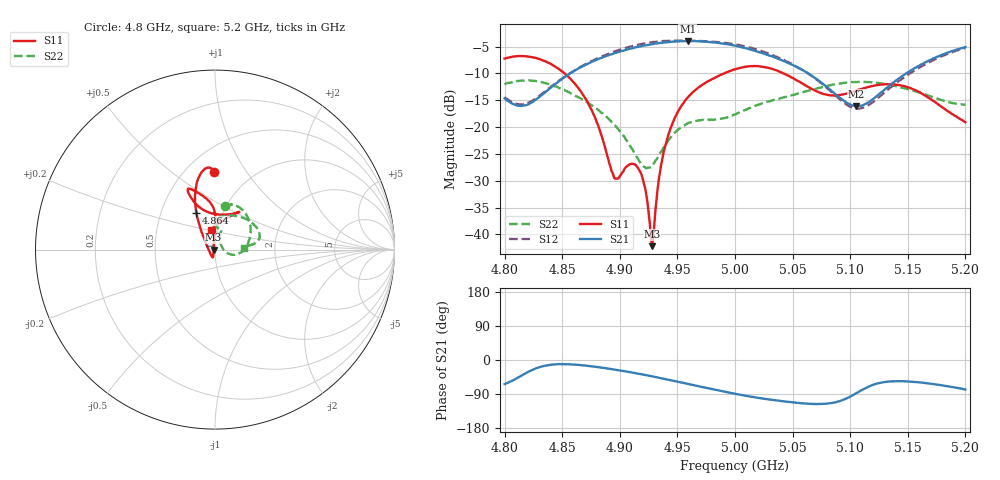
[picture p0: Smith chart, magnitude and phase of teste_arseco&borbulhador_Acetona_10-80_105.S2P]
! Network Analyzer HP8722D
! Hewlett-Packard
! Data name: Linha & Wilkinson
! Saver's name: Rodrigo Anjos
! Comments: Teste da utilização de aquisição
! continua pelo VNA HP8722D
! Time and date: 25/4/2025 16:08
!  Frequency  S11  S21  S12  S22
# HZ  S  MA R 50
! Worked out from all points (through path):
!   401 points, 4.8 GHz to 5.2 GHz, reference 50 ohm
!   highest |S21| = -3.96 dB at 4.959 GHz (marker M1); lowest = -16.1 dB at 5.105 GHz (marker M2)
!   lowest |S11| = -42.2 dB at 4.928 GHz (marker M3), VSWR 1.02, Z = 49.2 - j0.0887 ohm
!   |S11| at or under -10 dB: 4.852 GHz to 4.99 GHz (138.4 MHz wide, 2.81 % of centre); 5.042 GHz to end of sweep
!   |S22| runs from -27.7 to -11.3 dB; largest |S21 - S12| = 1.2
!   S11 on the Smith chart (normalised r, x): 4.8 GHz: 0.68, +0.72; 4.864 GHz: 0.75, +0.33; 5.2 GHz: 0.94, +0.21
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4.8e9  0.4344 90.7  0.1848 -63.5  0.19 70.0  0.2487 76.8
4.82e9  0.4536 96.8  0.1618 -32.0  0.1679 98.8  0.2723 61.3
4.843e9  0.3714 106.3  0.247 -11.9  0.2502 118.9  0.2408 36.9
4.864e9  0.231 116.8  0.3512 -12.8  0.3543 120.9  0.1892 11.9
4.867e9  0.208 118.4  0.3645 -13.9  0.3687 120.6  0.1819 8.4
4.88e9  0.111 128.8  0.4237 -18.6  0.435 118.2  0.1479 -5.5
4.895e9  0.03383 -173.4  0.4867 -25.0  0.5034 113.6  0.1061 -15.9
4.91e9  0.04533 -107.7  0.5407 -32.7  0.5647 107.0  0.06422 -13.6
4.917e9  0.03944 -104.4  0.5619 -36.7  0.5899 103.3  0.04774 -0.8
4.922e9  0.02703 -108.9  0.5761 -39.4  0.604 100.6  0.04224 16.1
4.928e9  0.00777 -173.3  0.5921 -43.1  0.6176 96.8  0.04356 41.9
4.93e9  0.01245 127.7  0.5963 -44.4  0.6196 95.6  0.04668 48.7
4.934e9  0.03325 101.2  0.6047 -46.9  0.6288 93.1  0.05534 58.6
4.944e9  0.09718 90.8  0.6235 -53.2  0.637 86.6  0.07983 69.6
4.959e9  0.1886 89.6  0.6335 -63.0  0.6394 76.9  0.1085 71.3
5e9  0.346 108.9  0.5729 -89.2  0.5911 50.7  0.131 88.5
5.03e9  0.3538 115.0  0.4625 -104.3  0.48 33.7  0.1737 85.2
5.067e9  0.2257 105.2  0.3 -115.9  0.2968 23.6  0.2226 57.0
5.105e9  0.2184 65.2  0.1562 -88.3  0.1487 54.8  0.2629 25.3
5.134e9  0.2504 57.1  0.2428 -56.6  0.2282 88.7  0.2476 12.4
5.17e9  0.1818 70.7  0.4234 -62.6  0.408 84.3  0.1929 6.8
5.2e9  0.1109 100.9  0.556 -77.8  0.5468 69.9  0.1612 3.7
